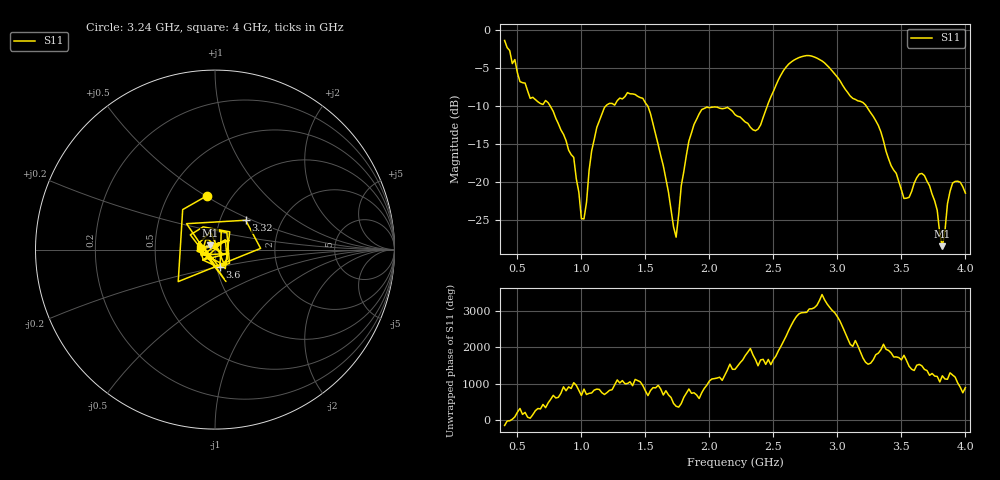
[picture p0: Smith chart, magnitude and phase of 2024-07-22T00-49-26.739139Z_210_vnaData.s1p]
!Created with skrf (http://scikit-rf.org).
# Hz S RI R 50.0
!freq ReS11 ImS11
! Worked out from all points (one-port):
!   181 points, 400 MHz to 4 GHz, reference 50 ohm
!   lowest |S11| = -28.4 dB at 3.82 GHz (marker M1), VSWR 1.08, Z = 47.1 + j2.3 ohm
!   |S11| at or under -10 dB: 757.8 MHz to 1.189 GHz (430.8 MHz wide, 44.3 % of centre); 1.52 GHz to 2.451 GHz (931.1 MHz wide, 46.9 % of centre); 3.227 GHz to end of sweep
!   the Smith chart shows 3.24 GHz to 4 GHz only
!   S11 on the Smith chart (normalised r, x): 3.24 GHz: 0.77, +0.51; 3.32 GHz: 1.32, +0.46; 3.6 GHz: 1.04, -0.20; 4 GHz: 0.84, +0.02
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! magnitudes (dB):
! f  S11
! 400 MHz  -1.3
! 600 MHz  -9.0
! 740 MHz  -9.5
! 860 MHz  -13.7
! 940 MHz  -16.7
! 1 GHz  -24.8
! 1.02 GHz  -24.8
! 1.08 GHz  -15.9
! 1.12 GHz  -12.8
! 1.3 GHz  -8.9
! 1.52 GHz  -10.0
! 1.74 GHz  -27.2
! 1.76 GHz  -24.2
! 1.84 GHz  -14.6
! 1.92 GHz  -11.0
! 2.2 GHz  -11.1
! 2.38 GHz  -13.0
! 2.66 GHz  -3.9
! 2.88 GHz  -4.0
! 3.1 GHz  -8.6
! 3.24 GHz  -10.3
! 3.32 GHz  -12.5
! 3.56 GHz  -22.0
! 3.6 GHz  -20.1
! 3.72 GHz  -20.4
! 3.82 GHz  -28.4
! 3.9 GHz  -20.1
! 4 GHz  -21.4
